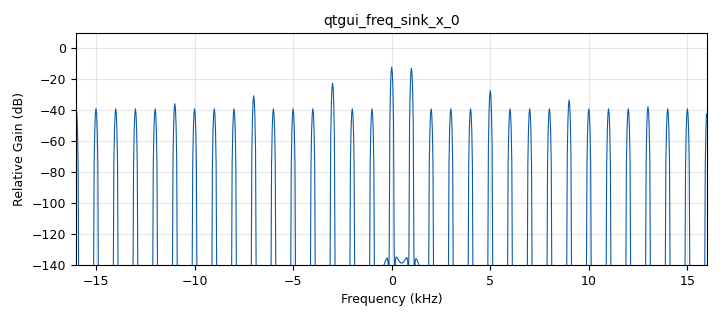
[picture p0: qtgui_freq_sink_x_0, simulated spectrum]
<?xml version='1.0' encoding='utf-8'?>
<?grc format='1' created='3.7.10'?>
<flow_graph>
<block>
<key>options</key>
<param><key>id</key><value>top_block</value></param>
<param><key>generate_options</key><value>qt_gui</value></param>
</block>
<block>
<key>variable</key>
<param><key>id</key><value>samp_rate</value></param>
<param><key>value</key><value>32000</value></param>
</block>
<block>
<key>analog_sig_source_x</key>
<param><key>id</key><value>analog_sig_source_x_0</value></param>
<param><key>amp</key><value>1</value></param>
<param><key>freq</key><value>1000</value></param>
<param><key>offset</key><value>0</value></param>
<param><key>type</key><value>complex</value></param>
<param><key>samp_rate</key><value>samp_rate</value></param>
<param><key>waveform</key><value>analog.GR_SQR_WAVE</value></param>
</block>
<block>
<key>blocks_file_sink</key>
<param><key>id</key><value>blocks_file_sink_0</value></param>
<param><key>_enabled</key><value>0</value></param>
<param><key>file</key><value>/home/hanqing/gnuradio_test/test_sps/qpsk_demod.txt</value></param>
<param><key>type</key><value>byte</value></param>
</block>
<block>
<key>blocks_file_source</key>
<param><key>id</key><value>blocks_file_source_0</value></param>
<param><key>_enabled</key><value>0</value></param>
<param><key>file</key><value>/home/hanqing/gnuradio_test/test_sps/qpsk_2samples_sps2</value></param>
<param><key>type</key><value>complex</value></param>
<param><key>repeat</key><value>True</value></param>
</block>
<block>
<key>blocks_throttle</key>
<param><key>id</key><value>blocks_throttle_0</value></param>
<param><key>_enabled</key><value>0</value></param>
<param><key>samples_per_second</key><value>samp_rate</value></param>
<param><key>type</key><value>complex</value></param>
</block>
<block>
<key>blocks_throttle</key>
<param><key>id</key><value>blocks_throttle_0_0</value></param>
<param><key>samples_per_second</key><value>samp_rate</value></param>
<param><key>type</key><value>complex</value></param>
</block>
<block>
<key>digital_psk_demod</key>
<param><key>id</key><value>digital_psk_demod_0</value></param>
<param><key>differential</key><value>False</value></param>
<param><key>_enabled</key><value>0</value></param>
<param><key>excess_bw</key><value>0.35</value></param>
<param><key>freq_bw</key><value>6.28/100.0</value></param>
<param><key>mod_code</key><value>"gray"</value></param>
<param><key>constellation_points</key><value>4</value></param>
<param><key>phase_bw</key><value>6.28/100.0</value></param>
<param><key>samples_per_symbol</key><value>2</value></param>
<param><key>timing_bw</key><value>6.28/100.0</value></param>
</block>
<block>
<key>qtgui_freq_sink_x</key>
<param><key>id</key><value>qtgui_freq_sink_x_0</value></param>
<param><key>bw</key><value>samp_rate</value></param>
<param><key>fc</key><value>0</value></param>
<param><key>fftsize</key><value>1024</value></param>
<param><key>showports</key><value>True</value></param>
<param><key>type</key><value>complex</value></param>
<param><key>wintype</key><value>firdes.WIN_BLACKMAN_hARRIS</value></param>
</block>
<connection><source_block_id>analog_sig_source_x_0</source_block_id><sink_block_id>blocks_throttle_0_0</sink_block_id><source_key>0</source_key><sink_key>0</sink_key></connection>
<connection><source_block_id>blocks_file_source_0</source_block_id><sink_block_id>blocks_throttle_0</sink_block_id><source_key>0</source_key><sink_key>0</sink_key></connection>
<connection><source_block_id>blocks_throttle_0</source_block_id><sink_block_id>digital_psk_demod_0</sink_block_id><source_key>0</source_key><sink_key>0</sink_key></connection>
<connection><source_block_id>blocks_throttle_0_0</source_block_id><sink_block_id>qtgui_freq_sink_x_0</sink_block_id><source_key>0</source_key><sink_key>0</sink_key></connection>
<connection><source_block_id>digital_psk_demod_0</source_block_id><sink_block_id>blocks_file_sink_0</sink_block_id><source_key>0</source_key><sink_key>0</sink_key></connection>
</flow_graph>
